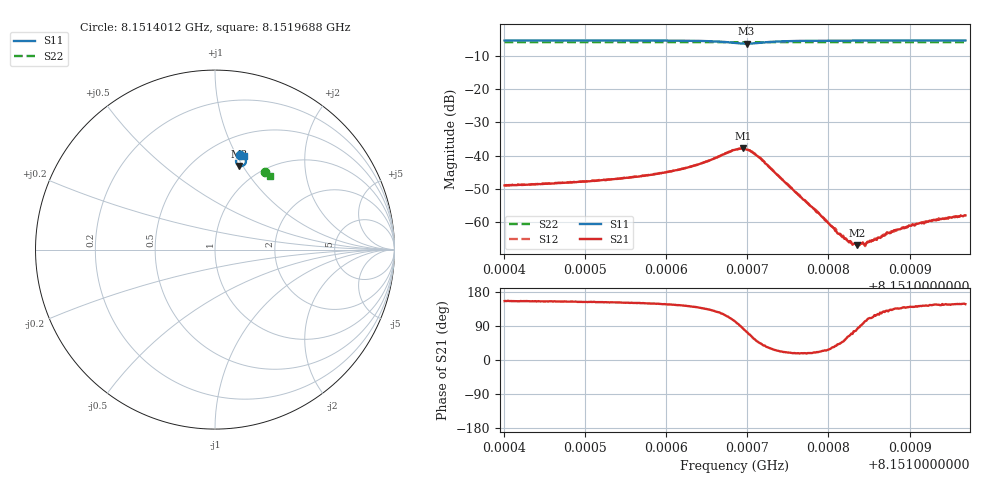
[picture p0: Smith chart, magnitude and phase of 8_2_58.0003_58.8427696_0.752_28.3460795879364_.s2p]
#  HZ  S  RI  R  50.00
! Rohde & Schwarz Vector Network Analyzer
! Rohde-Schwarz,ZNB20-2Port,1311601062101988,3.16
! Created: UTC 3/21/2024, 12:50:40 AM
! freq[Hz]  re:S11  im:S11  re:S21  im:S21  re:S12  im:S12  re:S22  im:S22
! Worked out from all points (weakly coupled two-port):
!   401 points, 8.1514012 GHz to 8.1519688 GHz, reference 50 ohm
!   highest |S21| = -37.84 dB at 8.1516949 GHz (marker M1); lowest = -67.0 dB at 8.1518354 GHz (marker M2)
!   lowest |S11| = -6.3 dB at 8.1516991 GHz (marker M3), VSWR 2.89, Z = 39.7 + j48.4 ohm
!   |S11| at or under -10 dB: nowhere
!   |S22| runs from -5.8 to -5.8 dB; largest |S21 - S12| = 0.00028
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8.15140116e9  0.1367 0.5266  -0.00324 0.00148  -0.00323 0.00152  0.2775 0.4329
8.15149623e9  0.1456 0.5239  -0.00363 0.00181  -0.00361 0.00192  0.2826 0.4295
8.15154306e9  0.1507 0.5221  -0.00399 0.00213  -0.00395 0.00222  0.2851 0.4276
8.1515913e9  0.1575 0.5185  -0.00457 0.00284  -0.00455 0.00294  0.2877 0.4256
8.15163813e9  0.1669 0.5099  -0.00549 0.00472  -0.00549 0.00483  0.2906 0.4234
8.15168496e9  0.163 0.4721  -0.00255 0.012  -0.00238 0.0121  0.2919 0.4205
8.15169489e9  0.1455 0.4653  0.0015 0.0127  0.00159 0.0128  0.2916 0.4202
8.15169915e9  0.1365 0.4664  0.00335 0.0119  0.00341 0.012  0.2915 0.4202
8.15170624e9  0.1242 0.4742  0.00554 0.00973  0.00571 0.00994  0.2916 0.4204
8.15171617e9  0.1172 0.4895  0.00658 0.00634  0.00658 0.00639  0.292 0.4207
8.1517403e9  0.1249 0.5122  0.00431 0.00183  0.00439 0.00178  0.294 0.4207
8.15178003e9  0.1392 0.5203  0.00159 0.000528  0.0016 0.000539  0.2966 0.4193
8.15180983e9  0.1456 0.5212  0.000572 0.000441  0.000628 0.000419  0.2985 0.4182
8.15181692e9  0.1469 0.5213  0.000413 0.000451  0.000433 0.000403  0.2987 0.4178
8.15182827e9  0.1488 0.5212  0.000171 0.000463  0.000168 0.000437  0.2993 0.4173
8.15183537e9  0.1498 0.5211  6.77e-05 0.00044  7.81e-05 0.000444  0.2997 0.4172
8.15184814e9  0.1516 0.5211  -0.000151 0.000475  -0.000154 0.000482  0.3004 0.4167
8.1518751e9  0.155 0.5207  -0.000452 0.000506  -0.000407 0.000534  0.3019 0.4155
8.15190206e9  0.1579 0.5202  -0.000679 0.000561  -0.00067 0.000578  0.3033 0.4145
8.15191767e9  0.1596 0.5199  -0.000762 0.000569  -0.000802 0.000606  0.3041 0.414
8.1519276e9  0.1605 0.5198  -0.00087 0.000615  -0.000841 0.000592  0.3045 0.4134
8.15196875e9  0.1641 0.5188  -0.00106 0.000679  -0.00107 0.000703  0.3067 0.4118
